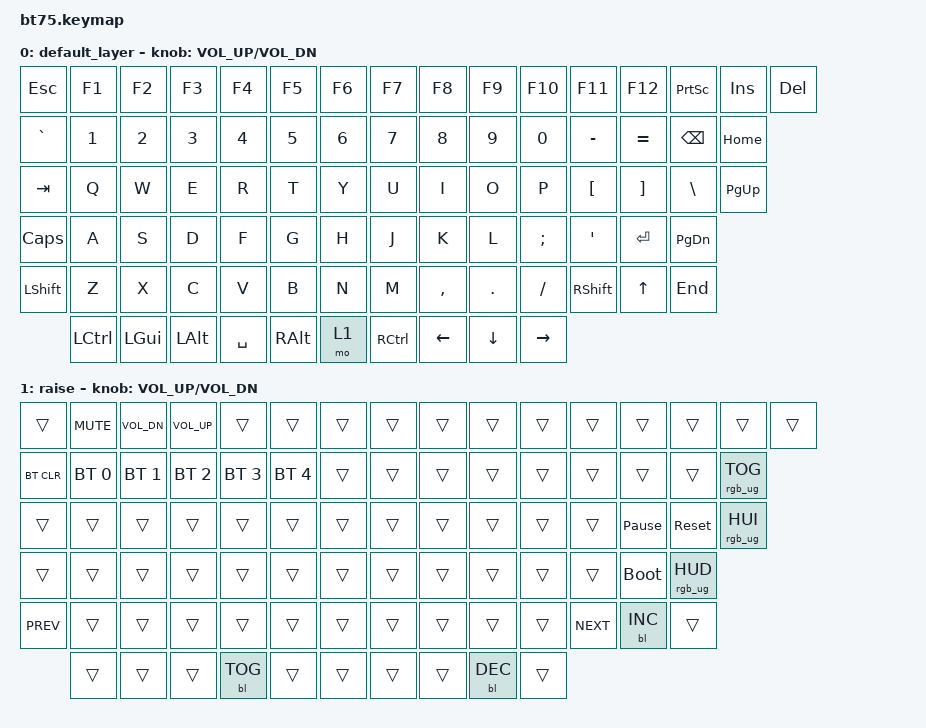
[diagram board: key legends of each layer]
#include <behaviors.dtsi>
#include <dt-bindings/zmk/backlight.h>
#include <dt-bindings/zmk/bt.h>
#include <dt-bindings/zmk/keys.h>
#include <dt-bindings/zmk/rgb.h>

/ {
    keymap {
        compatible = "zmk,keymap";

        default_layer {
            // ------------------------------------------------------------------------------------------------------------
            // | ESC | F1  | F2  | F3  | F4  | F5  | F6  | F7  | F9  | F9  | F10 | F11 | F12 | PSCRN | INS | DEL	|
            // |  `  |  1  |  2  |  3  |  4  |  5  |  6  |  7  |  8  |  9  |  0  |  -  |  =  |   BKSP   | HOME	|
            // | TAB  |  Q  |  W  |  E  |  R  |  T  |  Y  |  U  |  I  |  O  |  P  |  [  |  ]  |    \    | PG UP |
            // | CAPS  |  A  |  S  |  D  |  F  |  G  |  H  |  J  |  K  |  L  |  ;  |  '  |     ENTER     | PG DN |
            // |  SHIFT    |  Z  |  X  |  C  |  V  |  B  |  N  |  M  |  ,  |  .  | /   |    SHIFT |  UP  |  END  |
            // |  CTL  |  WIN  |  ALT  |            SPACE               | ALT | 1  | CTRL |  LEFT | DOWN | RIGHT |
            // ------------------------------------------------------------------------------------------------------------

            bindings = <
&kp ESC    &kp F1     &kp F2    &kp F3    &kp F4     &kp F5    &kp F6  &kp F7     &kp F8     &kp F9    &kp F10    &kp F11    &kp F12    &kp PSCRN      &kp INS    &kp DEL
&kp GRAVE  &kp N1     &kp N2    &kp N3    &kp N4     &kp N5    &kp N6  &kp N7     &kp N8     &kp N9    &kp N0     &kp MINUS  &kp EQUAL  &kp BACKSPACE  &kp HOME
&kp TAB    &kp Q      &kp W     &kp E     &kp R      &kp T     &kp Y   &kp U      &kp I      &kp O     &kp P      &kp LBKT   &kp RBKT   &kp BSLH       &kp PG_UP
&kp CLCK   &kp A      &kp S     &kp D     &kp F      &kp G     &kp H   &kp J      &kp K      &kp L     &kp SEMI   &kp SQT    &kp ENTER  &kp PG_DN
&kp LSHFT  &kp Z      &kp X     &kp C     &kp V      &kp B     &kp N   &kp M      &kp COMMA  &kp DOT   &kp FSLH   &kp RSHFT  &kp UP     &kp END
           &kp LCTRL  &kp LGUI  &kp LALT  &kp SPACE  &kp RALT  &mo 1   &kp RCTRL  &kp LEFT   &kp DOWN  &kp RIGHT
            >;

            sensor-bindings = <&inc_dec_kp C_VOL_UP C_VOL_DN>;
        };

        raise {
            bindings = <
&trans      &kp C_MUTE    &kp C_VOL_DN  &kp C_VOL_UP  &trans        &trans        &trans  &trans  &trans  &trans      &trans  &trans      &trans           &trans           &trans           &trans
&bt BT_CLR  &bt BT_SEL 0  &bt BT_SEL 1  &bt BT_SEL 2  &bt BT_SEL 3  &bt BT_SEL 4  &trans  &trans  &trans  &trans      &trans  &trans      &trans           &trans           &rgb_ug RGB_TOG
&trans      &trans        &trans        &trans        &trans        &trans        &trans  &trans  &trans  &trans      &trans  &trans      &kp PAUSE_BREAK  &sys_reset       &rgb_ug RGB_HUI
&trans      &trans        &trans        &trans        &trans        &trans        &trans  &trans  &trans  &trans      &trans  &trans      &bootloader      &rgb_ug RGB_HUD
&kp C_PREV  &trans        &trans        &trans        &trans        &trans        &trans  &trans  &trans  &trans      &trans  &kp C_NEXT  &bl BL_INC       &trans
            &trans        &trans        &trans        &bl BL_TOG    &trans        &trans  &trans  &trans  &bl BL_DEC  &trans
            >;

            sensor-bindings = <&inc_dec_kp C_VOL_UP C_VOL_DN>;
        };
    };
};
